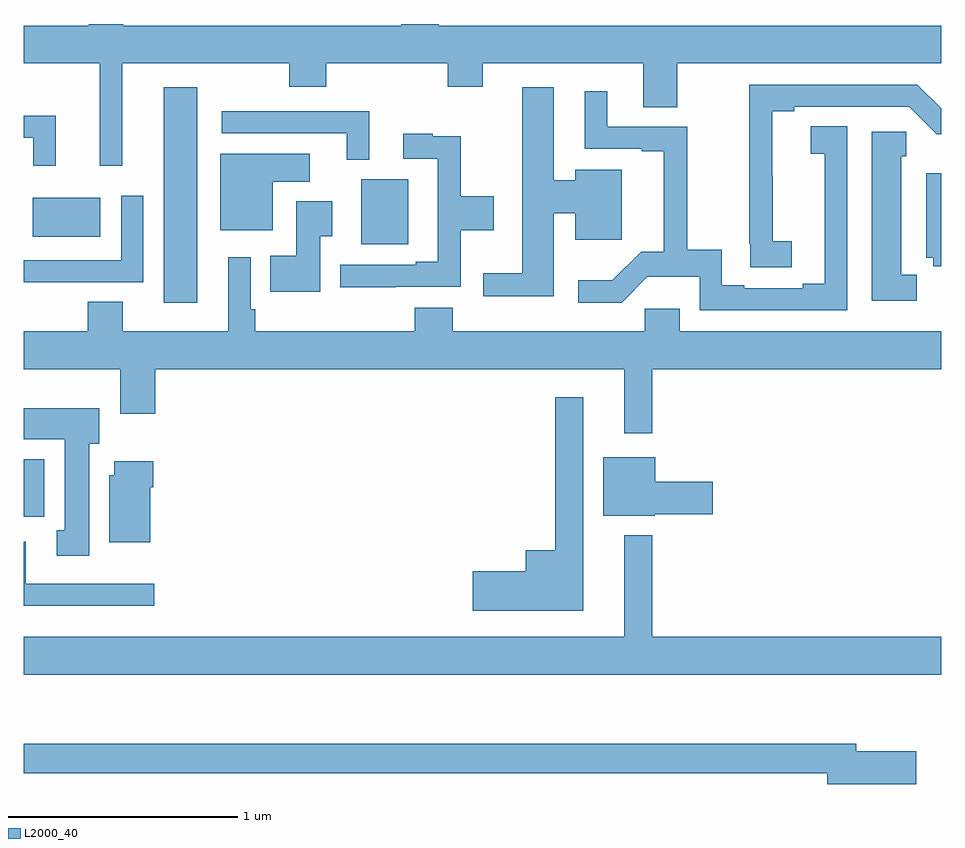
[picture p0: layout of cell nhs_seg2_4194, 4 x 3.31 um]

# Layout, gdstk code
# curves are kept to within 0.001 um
import gdstk
lib = gdstk.Library(unit=1e-6, precision=1e-09)
def R(c, l, rs):  # rectangles x0, y0, x1, y1
    for r in rs: c.add(gdstk.rectangle(r[:2], r[2:], *l))
def P(c, l, *ps):  # polygons
    for p in ps: c.add(gdstk.Polygon(p, *l))
L2000_40 = (2000, 40)

nhs_seg2_4194 = lib.new_cell('nhs_seg2_4194')
R(nhs_seg2_4194, L2000_40, [(337,653.652,337.089,653.902), (337.61,654.585,337.756,655.525), (338.471,654.839,338.677,655.123), (337.04,654.872,337.333,655.042)])
P(nhs_seg2_4194, L2000_40, [(337.43,655.628),(338.158,655.628),(338.158,655.526),(338.318,655.526),(338.318,655.628),(338.849,655.628),(338.849,655.526),(339.001,655.526),(339.001,655.628),(339.701,655.628),(339.701,655.438),(339.849,655.438),(339.849,655.628),(341,655.628),(341,655.792),(338.81,655.792),(338.81,655.8),(338.645,655.8),(338.645,655.792),(337.434,655.792),(337.434,655.8),(337.283,655.8),(337.283,655.792),(337,655.792),(337,655.628),(337.331,655.628),(337.331,655.182),(337.43,655.182)],
  [(340.348,654.854),(340.266,654.854),(340.264,655.42),(340.36,655.42),(340.36,655.44),(340.86,655.44),(340.981,655.319),(341,655.319),(341,655.432),(340.896,655.536),(340.162,655.536),(340.162,654.841),(340.168,654.841),(340.168,654.739),(340.348,654.739)],
  [(339.31,654.976),(339.404,654.976),(339.404,654.86),(339.607,654.86),(339.607,655.165),(339.404,655.165),(339.404,655.118),(339.31,655.118),(339.31,655.525),(339.173,655.525),(339.173,654.713),(339.003,654.713),(339.003,654.614),(339.31,654.614)],
  [(340.59,655.355),(340.431,655.355),(340.431,655.235),(340.492,655.235),(340.493,654.668),(340.397,654.668),(340.397,654.648),(340.141,654.648),(340.141,654.662),(340.044,654.662),(340.044,654.815),(339.893,654.815),(339.893,655.353),(339.544,655.353),(339.544,655.507),(339.446,655.507),(339.446,655.257),(339.695,655.257),(339.695,655.245),(339.791,655.245),(339.791,654.808),(339.691,654.808),(339.565,654.682),(339.417,654.682),(339.417,654.585),(339.606,654.585),(339.719,654.698),(339.948,654.698),(339.948,654.552),(340.59,654.552)],
  [(338.506,655.419),(337.863,655.419),(337.863,655.323),(338.408,655.323),(338.408,655.208),(338.506,655.208)],
  [(337.139,655.401),(337,655.401),(337,655.305),(337.041,655.305),(337.041,655.182),(337.139,655.182)],
  [(340.894,654.708),(340.825,654.708),(340.825,655.224),(340.847,655.224),(340.847,655.33),(340.697,655.33),(340.697,654.593),(340.894,654.593)],
  [(338.621,654.654),(338.906,654.654),(338.906,654.902),(339.049,654.902),(339.049,655.05),(338.906,655.05),(338.906,655.31),(338.783,655.31),(338.783,655.321),(338.655,655.321),(338.655,655.212),(338.805,655.212),(338.805,654.763),(338.708,654.763),(338.708,654.75),(338.379,654.75),(338.379,654.653),(338.621,654.653)],
  [(338.086,655.112),(338.248,655.112),(338.248,655.234),(337.856,655.234),(337.856,654.902),(338.086,654.902)],
  [(341,655.15),(340.934,655.15),(340.934,654.782),(340.966,654.782),(340.966,654.745),(341,654.745)],
  [(337.196,654.675),(337.521,654.675),(337.521,655.051),(337.425,655.051),(337.425,654.771),(337,654.771),(337,654.674),(337.196,654.674)],
  [(338.293,654.874),(338.344,654.874),(338.344,655.027),(338.189,655.027),(338.189,654.79),(338.074,654.79),(338.074,654.632),(338.293,654.632)],
  [(339.739,654.296),(341,654.296),(341,654.46),(339.859,654.46),(339.859,654.558),(339.708,654.558),(339.708,654.46),(338.87,654.46),(338.87,654.562),(338.705,654.562),(338.705,654.46),(338.009,654.46),(338.009,654.556),(337.989,654.556),(337.989,654.784),(337.892,654.784),(337.892,654.46),(337.432,654.46),(337.432,654.59),(337.28,654.59),(337.28,654.46),(337,654.46),(337,654.296),(337.421,654.296),(337.421,654.102),(337.574,654.102),(337.574,654.296),(339.617,654.296),(339.617,654.015),(339.739,654.015)],
  [(339.439,654.172),(339.318,654.172),(339.318,653.506),(339.188,653.506),(339.188,653.414),(338.958,653.414),(338.958,653.243),(339.439,653.243)],
  [(337.285,653.97),(337.33,653.97),(337.33,654.124),(337,654.124),(337,653.99),(337.178,653.99),(337.178,653.593),(337.145,653.593),(337.145,653.481),(337.285,653.481)],
  [(339.75,653.663),(340.003,653.663),(340.003,653.805),(339.754,653.805),(339.754,653.911),(339.527,653.911),(339.527,653.657),(339.75,653.657)],
  [(337.552,653.78),(337.565,653.78),(337.565,653.893),(337.394,653.893),(337.394,653.832),(337.373,653.832),(337.373,653.54),(337.552,653.54)],
  [(341,653.128),(339.739,653.128),(339.739,653.572),(339.617,653.572),(339.617,653.128),(337,653.128),(337,652.964),(341,652.964)],
  [(337.57,653.361),(337.009,653.361),(337.009,653.542),(337,653.542),(337,653.264),(337.57,653.264)],
  [(340.891,652.629),(340.63,652.629),(340.63,652.663),(337,652.663),(337,652.534),(340.502,652.534),(340.502,652.487),(340.891,652.487)])

lib.write_gds('nhs_seg2_4194.gds')
